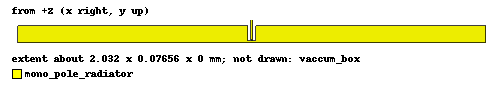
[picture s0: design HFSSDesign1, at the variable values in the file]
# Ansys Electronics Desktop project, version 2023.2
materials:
  vacuum: permittivity=1
  air: permittivity=1.0006 permeability=1.0000004

design HFSSDesign1 (HFSS, HFSS Terminal Network, model units mm)
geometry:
  gnd = rectangle(corner=(1.0162mm, 0mm, 0mm), x_size=-2.0324mm, y_size=0.075mm)
  Rectangle1 = rectangle(corner=(0.0162mm, 0.01mm, 0mm), x_size=-0.0324mm, y_size=0.065mm)
  gnd.subtract(Rectangle1)
  mono_pole_radiator = rectangle(corner=(0.0025mm, 0.01mm, 0mm), x_size=-0.005mm, y_size=1.315mm)
  port = rectangle(corner=(-0.0025mm, 0.01mm, 0mm), x_size=0.005mm, y_size=0.005mm)
  vaccum_box [air] = box(corner=(5mm, 5mm, 5mm), size=(-10mm, -10mm, -10mm))
  mono_pole_radiator.unite(gnd)
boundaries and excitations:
  PerfE1: Perfect E Objects=mono_pole_radiator
  Rad1: Radiation Objects=vaccum_box
  1: Lumped Port Objects=port LumpedPortType=Modal Modes{Mode1{IntLine{(0, 0.015, 0) -> (0, 0.01, 0)} CharImp=Zpi RenormImp=50ohm}} Impedance=50ohm
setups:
  Setup1: HfssDriven Frequency=60GHz MaxDeltaS=0.02 MaximumPasses=18 MinimumPasses=1 MinimumConvergedPasses=1 PercentRefinement=30 BasisOrder=1 PortAccuracy=2 DrivenSolverType="Direct Solver"
    sweep Sweep: 30GHz to 90GHz, 401 points; Type=Interpolating InterpTolerance=0.5 InterpMaxSolns=250 PassivityErrorTolerance=0.0001
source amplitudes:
  1:1: 1V 0deg
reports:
  S Parameter Plot 1: dB(S(1,1)) vs Freq on Setup1 : Sweep; markers m1 at 60.45GHz
